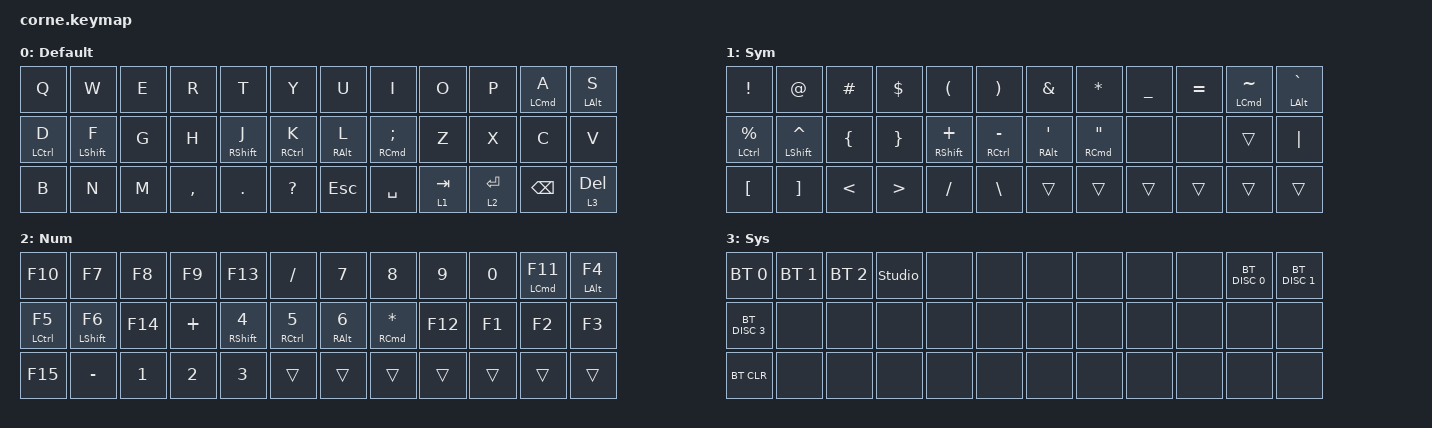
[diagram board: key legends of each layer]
/*
 * Copyright (c) 2020 The ZMK Contributors
 *
 * SPDX-License-Identifier: MIT
 */

#include <behaviors.dtsi>
#include <dt-bindings/zmk/bt.h>
#include <dt-bindings/zmk/keys.h>

/ {
    chosen { zmk,physical-layout = &foostan_corne_5col_layout; };

    behaviors {
        hrl: hrl {
            compatible = "zmk,behavior-hold-tap";
            label = "HRL";
            #binding-cells = <2>;
            bindings = <&kp>, <&kp>;

            hold-trigger-key-positions = <36 37 38 39 40 41 31 30 32 5 15 25 26 16 6 7 17 27 28 18 8 9 19 29 33 34 35>;
            flavor = "balanced";
            tapping-term-ms = <280>;
            require-prior-idle-ms = <150>;
            quick-tap-ms = <175>;
            hold-trigger-on-release;
        };

        hmr: hmr {
            compatible = "zmk,behavior-hold-tap";
            label = "HMR";
            #binding-cells = <2>;
            bindings = <&kp>, <&kp>;

            hold-trigger-key-positions = <33 34 35 39 40 41 36 38 37 0 1 2 3 14 4 13 12 11 10 20 21 22 23 24 32 31 30>;
            flavor = "balanced";
            tapping-term-ms = <280>;
            require-prior-idle-ms = <150>;
            quick-tap-ms = <175>;
            hold-trigger-on-release;
        };
    };

    combos { compatible = "zmk,combos"; };

    keymap {
        compatible = "zmk,keymap";

        default {
            bindings = <
&kp Q                &kp W              &kp E  &kp R      &kp T               &kp Y                   &kp U             &kp I                         &kp O      &kp P        &hrl LEFT_COMMAND A  &hrl LEFT_ALT S
&hrl LEFT_CONTROL D  &hrl LEFT_SHIFT F  &kp G  &kp H      &hmr RIGHT_SHIFT J  &hmr RIGHT_CONTROL K    &hmr RIGHT_ALT L  &hmr RIGHT_COMMAND SEMICOLON  &kp Z      &kp X        &kp C                &kp V
&kp B                &kp N              &kp M  &kp COMMA  &kp DOT             &kp QUESTION            &kp ESC           &kp SPACE                     &lt 1 TAB  &lt 2 ENTER  &kp BACKSPACE        &lt 3 DELETE
            >;

            label = "Default";
        };

        symbols {
            bindings = <
&kp EXCLAMATION            &kp AT                 &kp HASH        &kp DOLLAR        &kp LEFT_PARENTHESIS   &kp RIGHT_PARENTHESIS       &kp AMPERSAND                &kp ASTERISK                      &kp UNDER  &kp EQUAL  &hrl LEFT_COMMAND TILDE  &hrl LEFT_ALT GRAVE
&hrl LEFT_CONTROL PERCENT  &hrl LEFT_SHIFT CARET  &kp LEFT_BRACE  &kp RIGHT_BRACE   &hmr RIGHT_SHIFT PLUS  &hmr RIGHT_CONTROL MINUS    &hmr RIGHT_ALT SINGLE_QUOTE  &hmr RIGHT_COMMAND DOUBLE_QUOTES  &none      &none      &trans                   &kp PIPE
&kp LEFT_BRACKET           &kp RIGHT_BRACKET      &kp LESS_THAN   &kp GREATER_THAN  &kp SLASH              &kp BACKSLASH               &trans                       &trans                            &trans     &trans     &trans                   &trans
            >;

            label = "Sym";
        };

        Numbers {
            bindings = <
&kp F10               &kp F7              &kp F8        &kp F9        &kp F13              &kp SLASH                &kp N7             &kp N8                       &kp N9   &kp N0  &hrl LEFT_COMMAND F11  &hrl LEFT_ALT F4
&hrl LEFT_CONTROL F5  &hrl LEFT_SHIFT F6  &kp F14       &kp PLUS      &hmr RIGHT_SHIFT N4  &hmr RIGHT_CONTROL N5    &hmr RIGHT_ALT N6  &hmr RIGHT_COMMAND ASTERISK  &kp F12  &kp F1  &kp F2                 &kp F3
&kp F15               &kp MINUS           &kp NUMBER_1  &kp NUMBER_2  &kp N3               &trans                   &trans             &trans                       &trans   &trans  &trans                 &trans
            >;

            label = "Num";
        };

        System {
            bindings = <
&bt BT_SEL 0   &bt BT_SEL 1  &bt BT_SEL 2  &studio_unlock  &none  &none    &none  &none  &none  &none  &bt BT_DISC 0  &bt BT_DISC 1
&bt BT_DISC 3  &none         &none         &none           &none  &none    &none  &none  &none  &none  &none          &none
&bt BT_CLR     &none         &none         &none           &none  &none    &none  &none  &none  &none  &none          &none
            >;

            label = "Sys";
        };
    };
};
